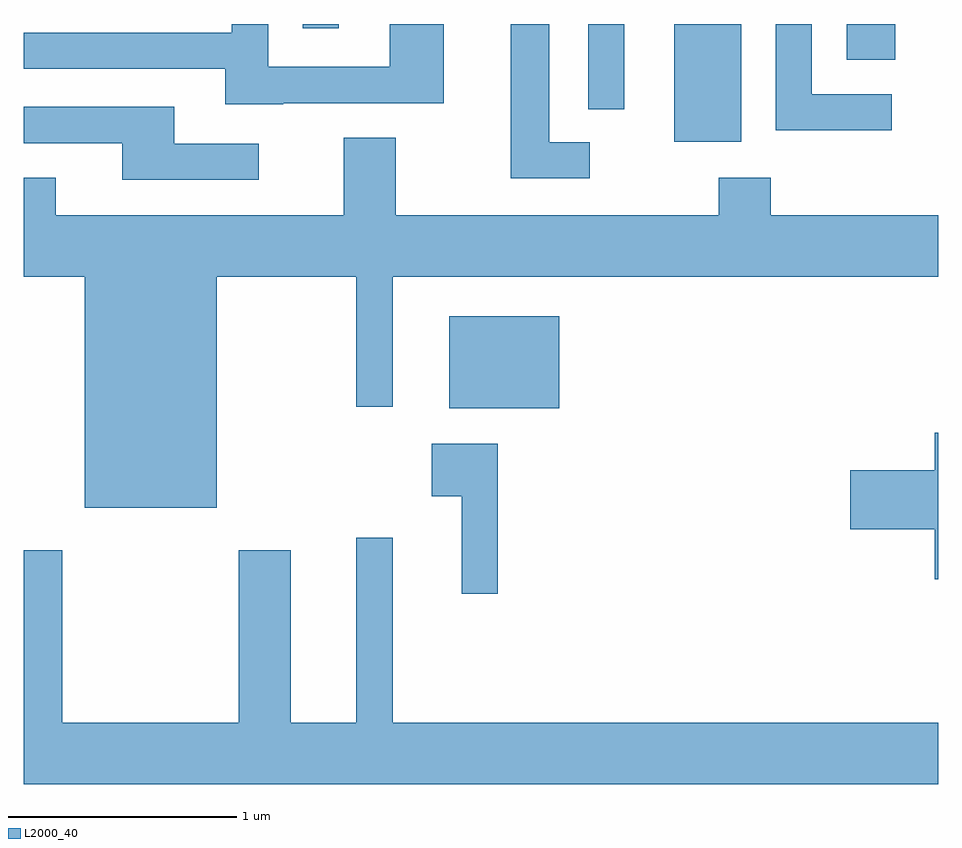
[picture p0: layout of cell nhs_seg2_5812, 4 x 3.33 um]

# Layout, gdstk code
import gdstk
lib = gdstk.Library(unit=1e-6, precision=1e-09)
def R(c, l, rs):  # rectangles x0, y0, x1, y1
    for r in rs: c.add(gdstk.rectangle(r[:2], r[2:], *l))
def P(c, l, *ps):  # polygons
    for p in ps: c.add(gdstk.Polygon(p, *l))
L2000_40 = (2000, 40)

nhs_seg2_5812 = lib.new_cell('nhs_seg2_5812')
R(nhs_seg2_5812, L2000_40, [(357.471,1112.121,357.954,1112.524), (358.456,1113.286,358.749,1113.802), (358.081,1113.428,358.239,1113.802), (359.211,1113.646,359.424,1113.802), (356.831,1113.783,356.989,1113.802)])
P(nhs_seg2_5812, L2000_40, [(356.745,1113.456),(357.449,1113.456),(357.449,1113.802),(357.211,1113.802),(357.211,1113.614),(356.679,1113.614),(356.679,1113.802),(356.521,1113.802),(356.521,1113.764),(355.611,1113.764),(355.611,1113.606),(356.491,1113.606),(356.491,1113.451),(356.745,1113.451)],
  [(358.088,1113.284),(357.909,1113.284),(357.909,1113.802),(357.741,1113.802),(357.741,1113.126),(358.088,1113.126)],
  [(359.408,1113.494),(359.059,1113.494),(359.059,1113.802),(358.901,1113.802),(358.901,1113.336),(359.408,1113.336)],
  [(356.638,1113.279),(356.269,1113.279),(356.269,1113.439),(355.611,1113.439),(355.611,1113.281),(356.041,1113.281),(356.041,1113.121),(356.638,1113.121)],
  [(356.454,1112.696),(357.066,1112.696),(357.066,1112.128),(357.224,1112.128),(357.224,1112.696),(359.611,1112.696),(359.611,1112.964),(358.879,1112.964),(358.879,1113.129),(358.651,1113.129),(358.651,1112.964),(357.239,1112.964),(357.239,1113.304),(357.011,1113.304),(357.011,1112.964),(355.749,1112.964),(355.749,1113.129),(355.611,1113.129),(355.611,1112.696),(355.876,1112.696),(355.876,1111.686),(356.454,1111.686)],
  [(359.611,1112.014),(359.596,1112.014),(359.596,1111.849),(359.226,1111.849),(359.226,1111.591),(359.596,1111.591),(359.596,1111.371),(359.611,1111.371)],
  [(357.684,1111.964),(357.396,1111.964),(357.396,1111.736),(357.526,1111.736),(357.526,1111.308),(357.684,1111.308)],
  [(359.611,1110.744),(357.224,1110.744),(357.224,1111.553),(357.066,1111.553),(357.066,1110.744),(356.779,1110.744),(356.779,1111.499),(356.551,1111.499),(356.551,1110.744),(355.779,1110.744),(355.779,1111.499),(355.611,1111.499),(355.611,1110.476),(359.611,1110.476)])

lib.write_gds('nhs_seg2_5812.gds')
